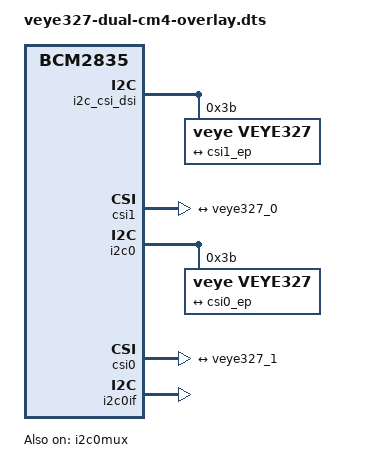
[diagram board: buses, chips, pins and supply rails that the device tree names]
// SPDX-License-Identifier: GPL-2.0-only
// Definitions for CS-MIPI-IMX307 camera module on VC I2C bus
/dts-v1/;
/plugin/;

#include <dt-bindings/gpio/gpio.h>

/{
	compatible = "brcm,bcm2835";

	fragment@0 {
		target = <&i2c_csi_dsi>;
		__overlay__ {
			#address-cells = <1>;
			#size-cells = <0>;
			status = "okay";

			veye327@3b {
				compatible = "veye,veye327";
				reg = <0x3b>;
				status = "okay";
				rotation = <0>;
				port {
					veye327_0: endpoint {
						remote-endpoint = <&csi1_ep>;
						clock-lanes = <0>;
						data-lanes = <1 2>;
						clock-noncontinuous;
						link-frequencies =
							/bits/ 64 <297000000>;
					};
				};
			};
		};
	};

	fragment@1 {
		target = <&csi1>;
		__overlay__ {
			status = "okay";
			port {
				csi1_ep: endpoint {
					remote-endpoint = <&veye327_0>;
					clock-lanes = <0>;
					data-lanes = <1 2>;
					clock-noncontinuous;
				};
			};
		};
	};
    fragment@2 {
		target = <&i2c0>;
		__overlay__ {
			#address-cells = <1>;
			#size-cells = <0>;
			status = "okay";

			veye327@3b {
				compatible = "veye,veye327";
				reg = <0x3b>;
				status = "okay";
				rotation = <0>;
				port {
					veye327_1: endpoint {
						remote-endpoint = <&csi0_ep>;
						clock-lanes = <0>;
						data-lanes = <1 2>;
						clock-noncontinuous;
						link-frequencies =
							/bits/ 64 <297000000>;
					};
				};
			};
		};
	};

	fragment@3 {
		target = <&csi0>;
		__overlay__ {
			status = "okay";
			port {
				csi0_ep: endpoint {
					remote-endpoint = <&veye327_1>;
					clock-lanes = <0>;
					data-lanes = <1 2>;
					clock-noncontinuous;
				};
			};
		};
	};
	fragment@4 {
		target = <&i2c0if>;
		__overlay__ {
			status = "okay";
		};
	};

	fragment@5 {
		target = <&i2c0mux>;
		__overlay__ {
			status = "okay";
		};
	};


};
